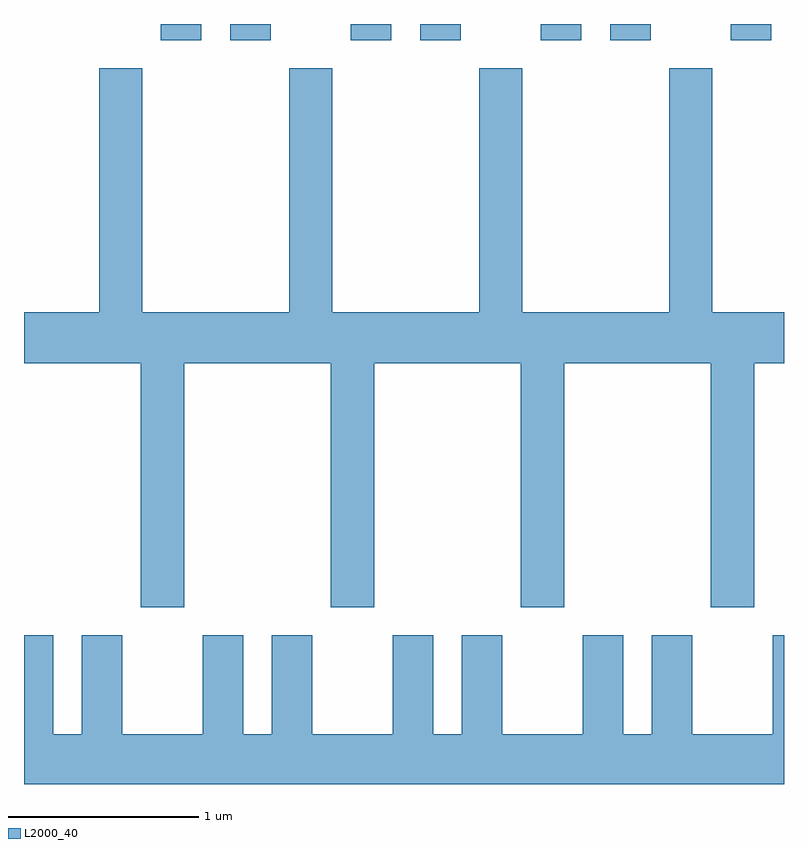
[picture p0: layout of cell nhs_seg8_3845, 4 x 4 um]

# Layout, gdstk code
import gdstk
lib = gdstk.Library(unit=1e-6, precision=1e-09)
def R(c, l, rs):  # rectangles x0, y0, x1, y1
    for r in rs: c.add(gdstk.rectangle(r[:2], r[2:], *l))
def P(c, l, *ps):  # polygons
    for p in ps: c.add(gdstk.Polygon(p, *l))
L2000_40 = (2000, 40)

nhs_seg8_3845 = lib.new_cell('nhs_seg8_3845')
R(nhs_seg8_3845, L2000_40, [(300.331,1920.256,300.544,1920.342), (300.696,1920.256,300.909,1920.342), (301.331,1920.256,301.544,1920.342), (301.696,1920.256,301.909,1920.342), (302.331,1920.256,302.544,1920.342), (302.696,1920.256,302.909,1920.342), (303.331,1920.256,303.544,1920.342)])
P(nhs_seg8_3845, L2000_40, [(301.226,1917.271),(301.454,1917.271),(301.454,1918.556),(302.226,1918.556),(302.226,1917.271),(302.454,1917.271),(302.454,1918.556),(303.226,1918.556),(303.226,1917.271),(303.454,1917.271),(303.454,1918.556),(303.611,1918.556),(303.611,1918.824),(303.234,1918.824),(303.234,1920.109),(303.006,1920.109),(303.006,1918.824),(302.234,1918.824),(302.234,1920.109),(302.006,1920.109),(302.006,1918.824),(301.234,1918.824),(301.234,1920.109),(301.006,1920.109),(301.006,1918.824),(300.234,1918.824),(300.234,1920.109),(300.006,1920.109),(300.006,1918.824),(299.611,1918.824),(299.611,1918.556),(300.226,1918.556),(300.226,1917.271),(300.454,1917.271),(300.454,1918.556),(301.226,1918.556)],
  [(303.611,1917.124),(303.551,1917.124),(303.551,1916.604),(303.129,1916.604),(303.129,1917.124),(302.916,1917.124),(302.916,1916.604),(302.764,1916.604),(302.764,1917.124),(302.551,1917.124),(302.551,1916.604),(302.129,1916.604),(302.129,1917.124),(301.916,1917.124),(301.916,1916.604),(301.764,1916.604),(301.764,1917.124),(301.551,1917.124),(301.551,1916.604),(301.129,1916.604),(301.129,1917.124),(300.916,1917.124),(300.916,1916.604),(300.764,1916.604),(300.764,1917.124),(300.551,1917.124),(300.551,1916.604),(300.129,1916.604),(300.129,1917.124),(299.916,1917.124),(299.916,1916.604),(299.764,1916.604),(299.764,1917.124),(299.611,1917.124),(299.611,1916.342),(303.611,1916.342)])

lib.write_gds('nhs_seg8_3845.gds')
